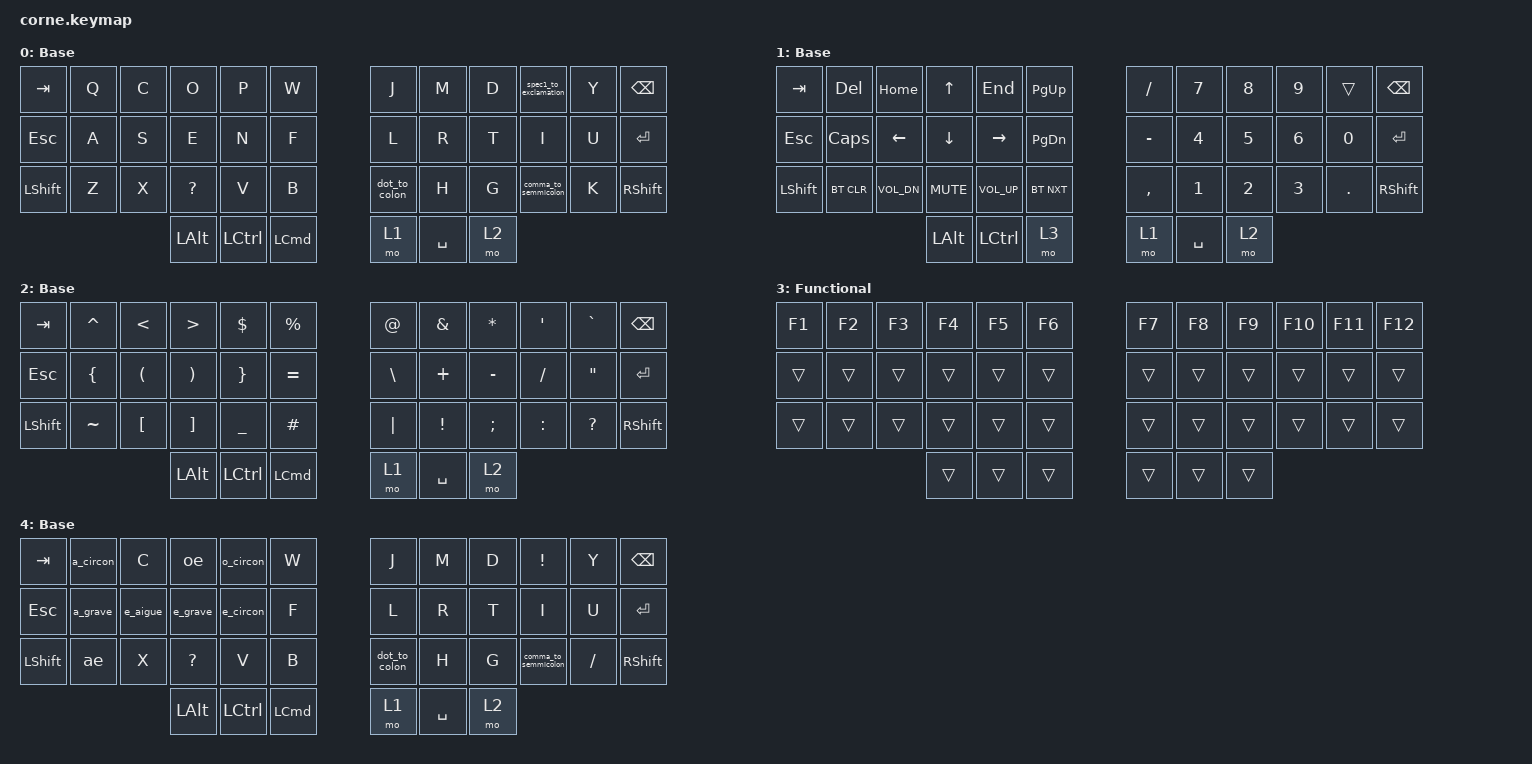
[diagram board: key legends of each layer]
/*
 * Copyright (c) 2020 The ZMK Contributors
 *
 * SPDX-License-Identifier: MIT
 */

#include <behaviors.dtsi>
#include <dt-bindings/zmk/bt.h>
#include <dt-bindings/zmk/keys.h>

/ {
    behaviors {
        comma_to_semmicolon: comma_to_semmicolon {
            compatible = "zmk,behavior-mod-morph";
            label = "COMMA_TO_SEMMICOLON";
            bindings = <&kp COMMA>, <&kp SEMI>;

            #binding-cells = <0>;
            mods = <(MOD_LSFT|MOD_RSFT)>;
        };

        dot_to_colon: dot_to_colon {
            compatible = "zmk,behavior-mod-morph";
            label = "DOT_TO_COLON";
            bindings = <&kp DOT>, <&kp COLON>;

            #binding-cells = <0>;
            mods = <(MOD_LSFT|MOD_RSFT)>;
        };

        spec1_to_exclamation: spec1_to_exclamation {
            compatible = "zmk,behavior-mod-morph";
            label = "SPEC1_TO_EXCLAMATION";
            bindings = <&to 4>, <&kp EXCL>;

            #binding-cells = <0>;
            mods = <(MOD_LSFT|MOD_RSFT)>;
        };
    };

    macros {
        a_circon: a_circon {
            compatible = "zmk,behavior-macro";
            #binding-cells = <0>;
            bindings =
                <&macro_press>,
                <&kp LEFT_ALT>,
                <&macro_tap>,
                <&kp KP_NUMBER_0 &kp KP_NUMBER_2 &kp KP_NUMBER_2 &kp KP_NUMBER_6>,
                <&macro_release>,
                <&kp LEFT_ALT>,
                <&macro_tap>,
                <&to 0>;

            label = "A_CIRCON";
            wait-ms = <10>;
            tap-ms = <5>;
        };

        a_grave: a_grave {
            compatible = "zmk,behavior-macro";
            #binding-cells = <0>;
            bindings =
                <&macro_press>,
                <&kp LEFT_ALT>,
                <&macro_tap>,
                <&kp KP_NUMBER_0 &kp KP_NUMBER_2 &kp KP_NUMBER_2 &kp KP_NUMBER_4>,
                <&macro_release>,
                <&kp LEFT_ALT>,
                <&macro_tap>,
                <&to 0>;

            label = "A_GRAVE";
            wait-ms = <10>;
            tap-ms = <5>;
        };

        ae: ae {
            compatible = "zmk,behavior-macro";
            #binding-cells = <0>;
            bindings =
                <&macro_press>,
                <&kp LEFT_ALT>,
                <&macro_tap>,
                <&kp KP_NUMBER_0 &kp KP_NUMBER_2 &kp KP_NUMBER_3 &kp KP_NUMBER_0>,
                <&macro_release>,
                <&kp LEFT_ALT>,
                <&macro_tap>,
                <&to 0>;

            label = "AE";
            wait-ms = <10>;
            tap-ms = <5>;
        };

        e_aigue: e_aigue {
            compatible = "zmk,behavior-macro";
            #binding-cells = <0>;
            bindings =
                <&macro_press>,
                <&kp LEFT_ALT>,
                <&macro_tap>,
                <&kp KP_NUMBER_0 &kp KP_NUMBER_2 &kp KP_NUMBER_3 &kp KP_NUMBER_3>,
                <&macro_release>,
                <&kp LEFT_ALT>,
                <&macro_tap>,
                <&to 0>;

            label = "E_AIGUE";
            wait-ms = <10>;
            tap-ms = <5>;
        };

        e_grave: e_grave {
            compatible = "zmk,behavior-macro";
            #binding-cells = <0>;
            bindings =
                <&macro_press>,
                <&kp LEFT_ALT>,
                <&macro_tap>,
                <&kp KP_NUMBER_0 &kp KP_NUMBER_2 &kp KP_NUMBER_3 &kp KP_NUMBER_2>,
                <&macro_release>,
                <&kp LEFT_ALT>,
                <&macro_tap>,
                <&to 0>;

            label = "E_GRAVE";
            wait-ms = <10>;
            tap-ms = <5>;
        };

        e_circon: e_circon {
            compatible = "zmk,behavior-macro";
            #binding-cells = <0>;
            bindings =
                <&macro_press>,
                <&kp LEFT_ALT>,
                <&macro_tap>,
                <&kp KP_NUMBER_0 &kp KP_NUMBER_2 &kp KP_NUMBER_3 &kp KP_NUMBER_4>,
                <&macro_release>,
                <&kp LEFT_ALT>,
                <&macro_tap>,
                <&to 0>;

            label = "E_CIRCON";
            wait-ms = <10>;
            tap-ms = <5>;
        };

        oe: oe {
            compatible = "zmk,behavior-macro";
            #binding-cells = <0>;
            bindings =
                <&macro_press>,
                <&kp LEFT_ALT>,
                <&macro_tap>,
                <&kp KP_NUMBER_0 &kp KP_NUMBER_1 &kp KP_NUMBER_5 &kp KP_N6>,
                <&macro_release>,
                <&kp LEFT_ALT>,
                <&macro_tap>,
                <&to 0>;

            label = "OE";
            wait-ms = <10>;
            tap-ms = <5>;
        };

        o_circon: o_circon {
            compatible = "zmk,behavior-macro";
            #binding-cells = <0>;
            bindings =
                <&macro_press>,
                <&kp LEFT_ALT>,
                <&macro_tap>,
                <&kp KP_NUMBER_0 &kp KP_N2 &kp KP_NUMBER_4 &kp KP_NUMBER_4>,
                <&macro_release>,
                <&kp LEFT_ALT>,
                <&macro_tap>,
                <&to 0>;

            label = "O_CIRCON";
            wait-ms = <10>;
            tap-ms = <5>;
        };

        mu: mu {
            compatible = "zmk,behavior-macro";
            #binding-cells = <0>;
            bindings =
                <&macro_press>,
                <&kp LEFT_ALT>,
                <&macro_tap>,
                <&kp KP_NUMBER_0 &kp KP_NUMBER_1 &kp KP_NUMBER_8 &kp KP_NUMBER_1>,
                <&macro_release>,
                <&kp LEFT_ALT>,
                <&macro_tap>,
                <&to 0>;

            label = "MU";
            wait-ms = <10>;
            tap-ms = <5>;
        };

        semicolon: semicolon {
            compatible = "zmk,behavior-macro";
            #binding-cells = <0>;
            bindings = <&macro_tap>, <&kp SEMI>;

            label = "SEMICOLON";
        };
    };

    keymap {
        compatible = "zmk,keymap";

        Base {
            // -----------------------------------------------------------------------------------------
            // |  TAB |  Q  |  W  |  E  |  R  |  T  |   |  Y  |  U   |  I  |  O  |  P  | BKSP |
            // | CTRL |  A  |  S  |  D  |  F  |  G  |   |  H  |  J   |  K  |  L  |  ;  |  '   |
            // | SHFT |  Z  |  X  |  C  |  V  |  B  |   |  N  |  M   |  ,  |  .  |  /  | ESC  |
            //                    | GUI | LWR | SPC |   | ENT | RSE  | ALT |

            display-name = "Base";
            bindings = <
&kp TAB     &kp Q  &kp C  &kp O         &kp P      &kp W       &kp J          &kp M      &kp D  &spec1_to_exclamation  &kp Y  &kp BSPC
&kp ESCAPE  &kp A  &kp S  &kp E         &kp N      &kp F       &kp L          &kp R      &kp T  &kp I                  &kp U  &kp ENTER
&kp LSHFT   &kp Z  &kp X  &kp QUESTION  &kp V      &kp B       &dot_to_colon  &kp H      &kp G  &comma_to_semmicolon   &kp K  &kp RIGHT_SHIFT
                          &kp LEFT_ALT  &kp LCTRL  &kp LCMD    &mo 1          &kp SPACE  &mo 2
            >;
        };

        Nav {
            display-name = "Base";
            bindings = <
&kp TAB     &kp DELETE    &kp HOME      &kp UP        &kp END       &kp PAGE_UP      &kp SLASH  &kp N7        &kp NUMBER_8  &kp NUMBER_9  &trans        &kp BSPC
&kp ESCAPE  &kp CAPSLOCK  &kp LEFT      &kp DOWN      &kp RIGHT     &kp PAGE_DOWN    &kp MINUS  &kp NUMBER_4  &kp N5        &kp NUMBER_6  &kp NUMBER_0  &kp ENTER
&kp LSHFT   &bt BT_CLR    &kp C_VOL_DN  &kp K_MUTE    &kp C_VOL_UP  &bt BT_NXT       &kp COMMA  &kp NUMBER_1  &kp NUMBER_2  &kp NUMBER_3  &kp DOT       &kp RIGHT_SHIFT
                                        &kp LEFT_ALT  &kp LCTRL     &mo 3            &mo 1      &kp SPACE     &mo 2
            >;
        };

        AltGr {
            display-name = "Base";
            bindings = <
&kp TAB     &kp CARET       &kp LESS_THAN         &kp GREATER_THAN       &kp DOLLAR       &kp PERCENT    &kp AT_SIGN    &kp AMPERSAND    &kp ASTERISK   &kp SQT    &kp GRAVE          &kp BSPC
&kp ESCAPE  &kp LEFT_BRACE  &kp LEFT_PARENTHESIS  &kp RIGHT_PARENTHESIS  &kp RIGHT_BRACE  &kp EQUAL      &kp BACKSLASH  &kp PLUS         &kp MINUS      &kp SLASH  &kp DOUBLE_QUOTES  &kp ENTER
&kp LSHFT   &kp TILDE       &kp LEFT_BRACKET      &kp RIGHT_BRACKET      &kp UNDERSCORE   &kp HASH       &kp PIPE       &kp EXCLAMATION  &kp SEMICOLON  &kp COLON  &kp QUESTION       &kp RIGHT_SHIFT
                                                  &kp LEFT_ALT           &kp LCTRL        &kp LCMD       &mo 1          &kp SPACE        &mo 2
            >;
        };

        Functional {
            bindings = <
&kp F1  &kp F2  &kp F3  &kp F4  &kp F5  &kp F6    &kp F7  &kp F8  &kp F9  &kp F10  &kp F11  &kp F12
&trans  &trans  &trans  &trans  &trans  &trans    &trans  &trans  &trans  &trans   &trans   &trans
&trans  &trans  &trans  &trans  &trans  &trans    &trans  &trans  &trans  &trans   &trans   &trans
                        &trans  &trans  &trans    &trans  &trans  &trans
            >;
        };

        spec_1 {
            display-name = "Base";
            bindings = <
&kp TAB     &a_circon  &kp C     &oe           &o_circon  &kp W       &kp J          &kp M      &kp D  &kp EXCLAMATION       &kp Y     &kp BSPC
&kp ESCAPE  &a_grave   &e_aigue  &e_grave      &e_circon  &kp F       &kp L          &kp R      &kp T  &kp I                 &kp U     &kp ENTER
&kp LSHFT   &ae        &kp X     &kp QUESTION  &kp V      &kp B       &dot_to_colon  &kp H      &kp G  &comma_to_semmicolon  &kp FSLH  &kp RIGHT_SHIFT
                                 &kp LEFT_ALT  &kp LCTRL  &kp LCMD    &mo 1          &kp SPACE  &mo 2
            >;
        };
    };
};
